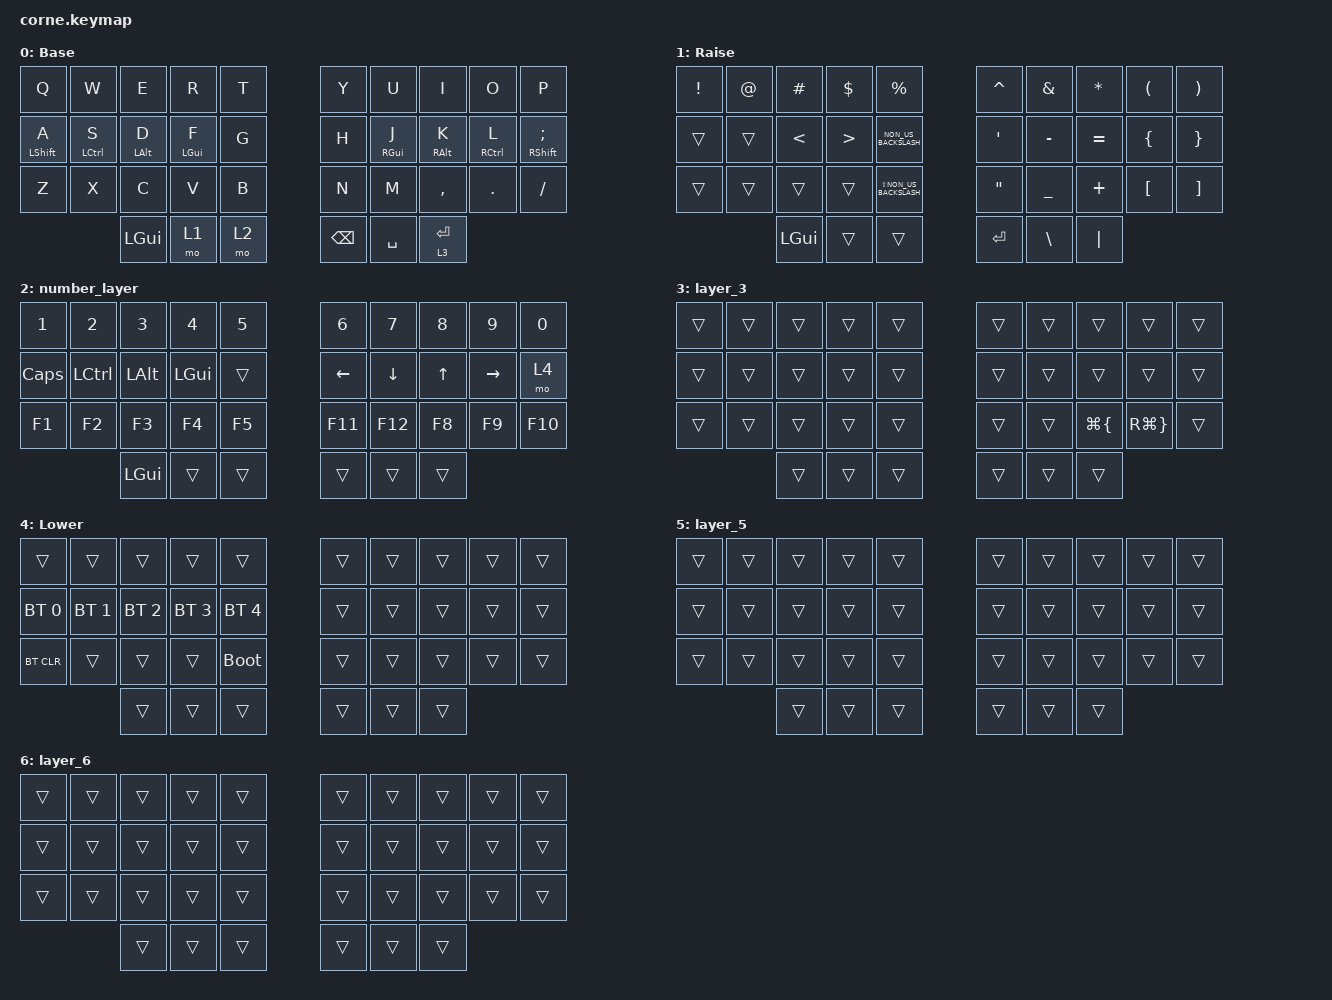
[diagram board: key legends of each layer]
/*
 * Copyright (c) 2020 The ZMK Contributors
 *
 * SPDX-License-Identifier: MIT
 */

#include <behaviors.dtsi>
#include <dt-bindings/zmk/bt.h>
#include <dt-bindings/zmk/keys.h>

/ {
    chosen { zmk,matrix_transform = &five_column_transform; };
};

/ {
    combos {
        compatible = "zmk,combos";

        esc {
            bindings = <&kp ESCAPE>;
            key-positions = <1 0>;
        };

        prev_tab {
            bindings = <&kp TAB>;
            key-positions = <10 11>;
        };

        shift+command {
            bindings = <&kp LS(LEFT_GUI)>;
            key-positions = <23 22>;
        };

        shift {
            bindings = <&sk_behavior LSHIFT>;
            key-positions = <31 34>;
        };

        shif_alt {
            bindings = <&kp LS(RIGHT_ALT)>;
            key-positions = <26 27>;
        };

        r_cmd {
            bindings = <&kp LG(LS(RBKT))>;
            key-positions = <27 28>;
        };

        l_cmd {
            bindings = <&kp LG(LS(LBKT))>;
            key-positions = <21 22>;
        };

        lang {
            bindings = <&kp CAPS>;
            key-positions = <12 13>;
            timeout-ms = <35>;
        };

        enter {
            bindings = <&kp ENTER>;
            key-positions = <16 17 18>;
        };

        caps {
            bindings = <&kp LOCKING_CAPS>;
            key-positions = <32 33>;
        };

        next_tab {
            bindings = <&kp LS(TAB)>;
            key-positions = <19 18>;
        };
    };

    behaviors {
        pht: positional_hold_tap {
            compatible = "zmk,behavior-hold-tap";
            #binding-cells = <2>;
            flavor = "hold-preferred";
            tapping-term-ms = <100>;
            quick-tap-ms = <0>;
            bindings = <&kp>, <&kp>;

            hold-trigger-key-positions = <1>;
        };

        pht100: positional_hold_tap_100 {
            compatible = "zmk,behavior-hold-tap";
            #binding-cells = <2>;
            flavor = "hold-preferred";
            tapping-term-ms = <120>;
            quick-tap-ms = <0>;
            bindings = <&kp>, <&kp>;

            hold-trigger-key-positions = <1>;
        };

        pht150: positional_hold_tap_150 {
            compatible = "zmk,behavior-hold-tap";
            #binding-cells = <2>;
            flavor = "hold-preferred";
            tapping-term-ms = <150>;
            quick-tap-ms = <0>;
            bindings = <&kp>, <&kp>;

            hold-trigger-key-positions = <1>;
        };

        pht160: pht160 {
            compatible = "zmk,behavior-hold-tap";
            #binding-cells = <2>;
            flavor = "hold-preferred";
            tapping-term-ms = <160>;
            quick-tap-ms = <0>;
            bindings = <&kp>, <&kp>;

            hold-trigger-key-positions = <1>;
            label = "PHT160";
        };

        pht160a: pht160a {
            compatible = "zmk,behavior-hold-tap";
            #binding-cells = <2>;
            flavor = "hold-preferred";
            tapping-term-ms = <160>;
            quick-tap-ms = <0>;
            bindings = <&kp>, <&kp>;

            hold-trigger-key-positions = <1>;
        };

        pht160b: pht160b {
            compatible = "zmk,behavior-hold-tap";
            #binding-cells = <2>;
            flavor = "balanced";
            tapping-term-ms = <160>;
            quick-tap-ms = <0>;
            bindings = <&kp>, <&kp>;

            hold-trigger-key-positions = <1>;
        };

        pht160c: pht160c {
            compatible = "zmk,behavior-hold-tap";
            #binding-cells = <2>;
            flavor = "tap-preferred";
            tapping-term-ms = <160>;
            quick-tap-ms = <0>;
            bindings = <&kp>, <&kp>;

            hold-trigger-key-positions = <1>;
        };

        pht160d: pht160d {
            compatible = "zmk,behavior-hold-tap";
            #binding-cells = <2>;
            flavor = "balanced";
            tapping-term-ms = <160>;
            quick-tap-ms = <0>;
            require-prior-idle-ms = <200>;
            bindings = <&kp>, <&kp>;

            hold-trigger-key-positions = <1>;
        };

        pht160e: pht160e {
            compatible = "zmk,behavior-hold-tap";
            #binding-cells = <2>;
            flavor = "balanced";
            tapping-term-ms = <160>;
            quick-tap-ms = <0>;
            retro-tap;
            bindings = <&kp>, <&kp>;

            hold-trigger-key-positions = <1>;
        };

        pht160f: pht160f {
            compatible = "zmk,behavior-hold-tap";
            #binding-cells = <2>;
            flavor = "balanced";
            tapping-term-ms = <160>;
            quick-tap-ms = <0>;
            require-prior-idle-ms = <200>;
            retro-tap;
            bindings = <&kp>, <&kp>;

            hold-trigger-key-positions = <1>;
        };

        sk_behavior: sk_behavior {
            compatible = "zmk,behavior-sticky-key";
            label = "SK_BEHAVIOR";
            bindings = <&kp>;
            #binding-cells = <1>;
            release-after-ms = <1000>;
            quick-release;
        };
    };

    keymap {
        compatible = "zmk,keymap";

        base_layer {
            // -----------------------------------------------------------------------------------------
            // |  TAB |  Q  |  W  |  E  |  R  |  T  |   |  Y  |  U   |  I  |  O  |  P  | BKSP |
            // | CTRL |  A  |  S  |  D  |  F  |  G  |   |  H  |  J   |  K  |  L  |  ;  |  '   |
            // | SHFT |  Z  |  X  |  C  |  V  |  B  |   |  N  |  M   |  ,  |  .  |  /  | ESC  |
            //                    | GUI | LWR | SPC |   | ENT | RSE  | ALT |

            label = "Base";
            bindings = <
  &kp Q                  &kp W             &kp E                &kp R                &kp T    &kp Y          &kp U                 &kp I                 &kp O             &kp P
  &pht160f LEFT_SHIFT A  &pht160f LCTRL S  &pht160f LEFT_ALT D  &pht160f LEFT_GUI F  &kp G    &kp H          &pht160f RIGHT_GUI J  &pht160f RIGHT_ALT K  &pht160f RCTRL L  &pht160f RIGHT_SHIFT SEMICOLON
  &kp Z                  &kp X             &kp C                &kp V                &kp B    &kp N          &kp M                 &kp COMMA             &kp DOT           &kp SLASH
                                           &kp LGUI             &mo 1                &mo 2    &kp BACKSPACE  &kp SPACE             &lt 3 ENTER
            >;
        };

        symbol_layer {
            // -----------------------------------------------------------------------------------------
            // |  TAB |  !  |  @  |  #  |  $  |  %  |   |  ^  |  &  |  *  |  (  |  )  | BKSP |
            // | CTRL |     |     |     |     |     |   |  -  |  =  |  [  |  ]  |  \  |  `   |
            // | SHFT |     |     |     |     |     |   |  _  |  +  |  {  |  }  | "|" |  ~   |
            //                    | GUI |     | SPC |   | ENT |     | ALT |

            label = "Raise";
            bindings = <
  &kp EXCL  &kp AT  &kp HASH       &kp DLLR          &kp PRCNT                   &kp CARET          &kp AMPS        &kp ASTERISK  &kp LPAR          &kp RPAR
  &trans    &trans  &kp LESS_THAN  &kp GREATER_THAN  &kp NON_US_BACKSLASH        &kp SINGLE_QUOTE   &kp MINUS       &kp EQUAL     &kp LEFT_BRACE    &kp RIGHT_BRACE
  &trans    &trans  &trans         &trans            &kp LS(NON_US_BACKSLASH)    &kp DOUBLE_QUOTES  &kp UNDERSCORE  &kp PLUS      &kp LEFT_BRACKET  &kp RIGHT_BRACKET
                    &kp LEFT_GUI   &trans            &trans                      &kp RET            &kp BACKSLASH   &kp PIPE
            >;
        };

        number_layer {
            bindings = <
  &kp N1    &kp N2     &kp N3        &kp N4        &kp N5    &kp N6    &kp N7          &kp N8        &kp N9     &kp N0
  &kp CAPS  &kp LCTRL  &kp LEFT_ALT  &kp LEFT_GUI  &trans    &kp LEFT  &kp DOWN_ARROW  &kp UP_ARROW  &kp RIGHT  &mo 4
  &kp F1    &kp F2     &kp F3        &kp F4        &kp F5    &kp F11   &kp F12         &kp F8        &kp F9     &kp F10
                       &kp LEFT_GUI  &trans        &trans    &trans    &trans          &trans
            >;
        };

        layer_3 {
            bindings = <
  &trans  &trans  &trans  &trans  &trans    &trans  &trans  &trans              &trans               &trans
  &trans  &trans  &trans  &trans  &trans    &trans  &trans  &trans              &trans               &trans
  &trans  &trans  &trans  &trans  &trans    &trans  &trans  &kp LG(LEFT_BRACE)  &kp RG(RIGHT_BRACE)  &trans
                  &trans  &trans  &trans    &trans  &trans  &trans
            >;
        };

        layer_4 {
            // -----------------------------------------------------------------------------------------
            // |  TAB |  1  |  2  |  3  |  4  |  5  |   |  6  |  7  |  8  |  9  |  0  | BKSP |
            // | BTCLR| BT1 | BT2 | BT3 | BT4 | BT5 |   | LFT | DWN |  UP | RGT |     |      |
            // | SHFT |     |     |     |     |     |   |     |     |     |     |     |      |
            //                    |BTCLR|     | SPC |   | ENT |     | ALT |

            label = "Lower";
            bindings = <
  &trans        &trans        &trans        &trans        &trans          &trans  &trans  &trans  &trans  &trans
  &bt BT_SEL 0  &bt BT_SEL 1  &bt BT_SEL 2  &bt BT_SEL 3  &bt BT_SEL 4    &trans  &trans  &trans  &trans  &trans
  &bt BT_CLR    &trans        &trans        &trans        &bootloader     &trans  &trans  &trans  &trans  &trans
                              &trans        &trans        &trans          &trans  &trans  &trans
            >;
        };

        layer_5 {
            bindings = <
  &trans  &trans  &trans  &trans  &trans    &trans  &trans  &trans  &trans  &trans
  &trans  &trans  &trans  &trans  &trans    &trans  &trans  &trans  &trans  &trans
  &trans  &trans  &trans  &trans  &trans    &trans  &trans  &trans  &trans  &trans
                  &trans  &trans  &trans    &trans  &trans  &trans
            >;
        };

        layer_6 {
            bindings = <
  &trans  &trans  &trans  &trans  &trans    &trans  &trans  &trans  &trans  &trans
  &trans  &trans  &trans  &trans  &trans    &trans  &trans  &trans  &trans  &trans
  &trans  &trans  &trans  &trans  &trans    &trans  &trans  &trans  &trans  &trans
                  &trans  &trans  &trans    &trans  &trans  &trans
            >;
        };
    };
};
